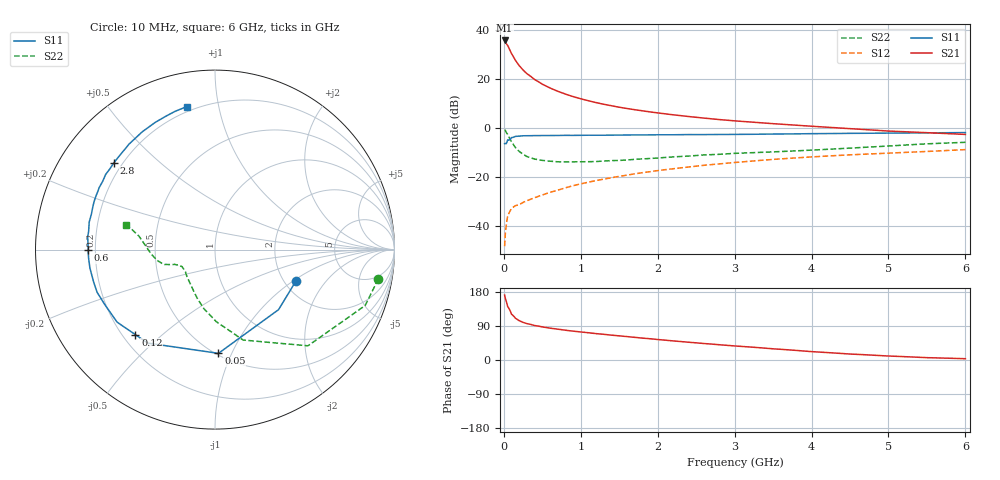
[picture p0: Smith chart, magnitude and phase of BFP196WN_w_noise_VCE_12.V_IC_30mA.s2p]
! (c) 2017  Infineon Technologies AG, Munich
! Infineon Technologies  Discrete & RF Semiconductors
! BFP196WN
! VCE =  12. V,  IC =  30 mA
! Common Emitter S-Parameters:  Jan 2017
# GHz  S  MA  R  50
!  f  S11  S21  S12  S22
! GHz  MAG  ANG  MAG  ANG  MAG  ANG  MAG  ANG
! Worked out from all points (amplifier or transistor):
!   77 points, 10 MHz to 6 GHz, reference 50 ohm
!   highest |S21| = 35.8 dB at 10 MHz (marker M1)
!   |S21| within 3 dB of that: start of sweep to 64.75 MHz
!   unconditionally stable (mu >= 1): 849.9 MHz to 2.68 GHz
!   at 130 MHz: K = 0.39, MSG = 30.5 dB, |S12| = -32.1 dB
!   at 2.2 GHz: K = 1.03, MAG = 10.0 dB, |S12| = -16.6 dB
!   at 6 GHz: K = 0.88, MSG = 3.1 dB, |S12| = -8.8 dB
!   lowest NFmin = 1.06 dB at 450 MHz
!   S11 on the Smith chart (normalised r, x): 10 MHz: 2.30, -1.06; 50 MHz: 0.51, -0.89; 120 MHz: 0.25, -0.41; 600 MHz: 0.17, -0.00; 2.8 GHz: 0.17, +0.36; 6 GHz: 0.17, +0.81
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0.01  0.4836 -21.3  61.6 171.3  0.0039 67.9  0.9243 -10.2
0.02  0.4872 -43.4  57.96 162.0  0.0073 73.0  0.8928 -20.4
0.05  0.5784 -88.1  48.69 141.0  0.0161 55.7  0.7451 -46.0
0.1  0.6419 -125.8  33.12 120.8  0.023 45.8  0.5278 -72.7
0.12  0.6491 -133.1  29.48 117.4  0.0242 44.5  0.4733 -78.1
0.15  0.6789 -143.5  24.29 110.3  0.0261 42.8  0.4022 -88.9
0.2  0.6864 -153.6  18.84 103.8  0.0275 43.7  0.3345 -100.7
0.25  0.6986 -160.1  15.36 99.3  0.0305 44.4  0.2933 -109.0
0.3  0.6999 -164.9  12.93 96.0  0.0331 46.4  0.2634 -116.2
0.4  0.7045 -171.6  9.831 91.0  0.038 52.1  0.234 -126.3
0.5  0.7059 -176.2  7.896 87.3  0.0432 54.8  0.2199 -133.9
0.6  0.7069 -179.8  6.604 84.1  0.0489 56.8  0.2117 -139.6
0.7  0.7087 177.1  5.658 81.4  0.0542 59.9  0.2057 -143.2
0.8  0.7128 174.2  4.961 78.6  0.0604 60.9  0.2049 -145.9
1.1  0.7175 167.7  3.618 71.9  0.0789 63.3  0.2066 -152.4
1.5  0.7218 160.3  2.672 63.7  0.1037 63.8  0.2194 -157.1
2.1  0.7319 150.3  1.957 52.3  0.1421 62.4  0.2522 -160.8
2.8  0.7425 139.5  1.497 40.3  0.1864 58.6  0.2924 -163.5
3.1  0.7467 135.0  1.371 35.7  0.205 56.4  0.3099 -166.3
4.1  0.7729 120.4  1.069 20.9  0.2639 49.0  0.3624 -177.6
5.1  0.7937 109.4  0.859 9.7  0.3138 41.7  0.441 169.0
6  0.8118 101.2  0.744 3.4  0.3645 35.7  0.5138 164.6
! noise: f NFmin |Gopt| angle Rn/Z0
0.45  1.06  0.46  178  0.04
0.9  1.19  0.52  184  0.05
1.9  2.13  0.68  211  0.13
2.4  2.86  0.69  218  0.24
